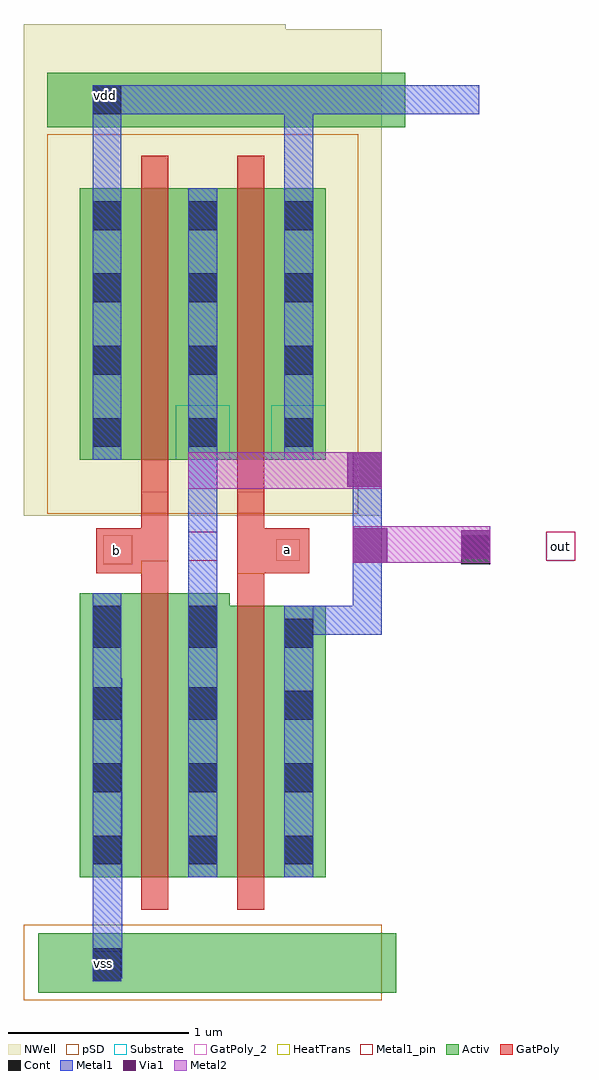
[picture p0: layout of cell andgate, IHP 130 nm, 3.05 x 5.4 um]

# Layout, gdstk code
from math import pi, radians
import gdstk
lib = gdstk.Library(unit=1e-6, precision=5e-09)
def R(c, l, rs):  # rectangles x0, y0, x1, y1
    for r in rs: c.add(gdstk.rectangle(r[:2], r[2:], *l))
def A(c, l, x, y, w, h, nx, ny, dx, dy):  # array of equal rectangles
    R(c, l, [(x+i*dx, y+j*dy, x+i*dx+w, y+j*dy+h) for i in range(nx) for j in range(ny)])
Activ = (1, 0)
GatPoly = (5, 0)
GatPoly_2 = (5, 2)
Cont = (6, 0)
Metal1 = (8, 0)
Metal1_pin = (8, 2)
Metal2 = (10, 0)
pSD = (14, 0)
Via1 = (19, 0)
NWell = (31, 0)
Substrate = (40, 0)
HeatTrans = (51, 0)

nmos_1 = lib.new_cell('nmos$1')
R(nmos_1, Activ, [(0,0,0.3,0.3), (0,0,0.83,1.5), (0.53,0,0.83,0.3)])
R(nmos_1, GatPoly, [(0.34,-0.18,0.49,1.68)])
R(nmos_1, GatPoly_2, [(0.34,-0.18,0.49,1.68)])
A(nmos_1, Cont, 0.07, 0.07, 0.16, 0.16, 1, 4, 0, 0.4)
A(nmos_1, Cont, 0.6, 0.07, 0.16, 0.16, 1, 4, 0, 0.4)
R(nmos_1, Metal1, [(0.07,0,0.23,1.5), (0.6,0,0.76,1.5)])
R(nmos_1, Metal1_pin, [(0.07,0,0.23,1.5), (0.6,0,0.76,1.5)])
R(nmos_1, HeatTrans, [(0.34,-0.18,0.49,1.68)])
nmos_1.add(gdstk.Label('nmos', (0.415,0.75), layer=63, texttype=0))
nmos_1.add(gdstk.Label('nmos', (0.415,0.75), layer=51, texttype=0))

pmos = lib.new_cell('pmos')
R(pmos, Activ, [(0,0,0.3,0.3), (0,0,0.83,1.5), (0.53,0,0.83,0.3)])
R(pmos, GatPoly, [(0.34,-0.18,0.49,1.68), (0.34,-0.18,0.49,1.68)])
A(pmos, Cont, 0.07, 0.07, 0.16, 0.16, 1, 4, 0, 0.4)
A(pmos, Cont, 0.6, 0.07, 0.16, 0.16, 1, 4, 0, 0.4)
R(pmos, Metal1, [(0.07,0,0.23,1.5), (0.07,0,0.23,1.5), (0.6,0,0.76,1.5), (0.6,0,0.76,1.5)])
R(pmos, pSD, [(-0.18,-0.3,1.01,1.8)])
R(pmos, NWell, [(-0.31,-0.31,1.14,1.81)])
R(pmos, Substrate, [(0.53,0,0.83,0.3)])
R(pmos, HeatTrans, [(0.34,-0.18,0.49,1.68)])
pmos.add(gdstk.Label('pmos', (0.415,0.75), layer=63, texttype=0))
pmos.add(gdstk.Label('pmos', (0.415,0.75), layer=51, texttype=0))

nmos_2 = lib.new_cell('nmos$2')
R(nmos_2, Activ, [(0,0,0.3,0.3), (0,0,0.83,0.75), (0.53,0,0.83,0.3)])
R(nmos_2, GatPoly, [(0.34,-0.18,0.49,0.93)])
R(nmos_2, GatPoly_2, [(0.34,-0.18,0.49,0.93)])
R(nmos_2, Cont, [(0.07,0.07,0.23,0.23), (0.6,0.07,0.76,0.23), (0.07,0.52,0.23,0.68), (0.6,0.52,0.76,0.68)])
R(nmos_2, Metal1, [(0.07,0,0.23,0.75), (0.6,0,0.76,0.75)])
R(nmos_2, Metal1_pin, [(0.07,0,0.23,0.75), (0.6,0,0.76,0.75)])
R(nmos_2, HeatTrans, [(0.34,-0.18,0.49,0.93)])
nmos_2.add(gdstk.Label('nmos', (0.415,0.375), layer=63, texttype=0))
nmos_2.add(gdstk.Label('nmos', (0.415,0.375), layer=51, texttype=0))

pmos_2 = lib.new_cell('pmos$2')
R(pmos_2, Activ, [(0,0,0.3,0.3), (0,0,0.83,1.5), (0.53,0,0.83,0.3)])
R(pmos_2, GatPoly, [(0.34,-0.18,0.49,1.68), (0.34,-0.18,0.49,1.68)])
A(pmos_2, Cont, 0.07, 0.07, 0.16, 0.16, 1, 4, 0, 0.4)
A(pmos_2, Cont, 0.6, 0.07, 0.16, 0.16, 1, 4, 0, 0.4)
R(pmos_2, Metal1, [(0.07,0,0.23,1.5), (0.07,0,0.23,1.5), (0.6,0,0.76,1.5), (0.6,0,0.76,1.5)])
R(pmos_2, pSD, [(-0.18,-0.3,1.01,1.8)])
R(pmos_2, NWell, [(-0.31,-0.31,1.14,1.81)])
R(pmos_2, Substrate, [(0.53,0,0.83,0.3)])
R(pmos_2, HeatTrans, [(0.34,-0.18,0.49,1.68)])
pmos_2.add(gdstk.Label('pmos', (0.415,0.75), layer=63, texttype=0))
pmos_2.add(gdstk.Label('pmos', (0.415,0.75), layer=51, texttype=0))

inverter_1 = lib.new_cell('inverter$1')
R(inverter_1, Activ, [(-0.845,-2.585,0.395,-2.255), (-0.795,2.205,0.285,2.505)])
R(inverter_1, GatPoly, [(-0.525,-0.265,-0.275,-0.015), (-0.275,-0.195,-0.125,0.185)])
R(inverter_1, GatPoly_2, [(-0.485,-0.215,-0.325,-0.055)])
R(inverter_1, Cont, [(-0.545,-2.5,-0.385,-2.34), (-0.545,-2.5,-0.385,-2.34), (-0.545,2.275,-0.385,2.435)])
R(inverter_1, Metal1, [(-0.545,-2.505,-0.38,-0.845), (-0.015,-0.375,0.145,0.365), (-0.545,1.865,-0.385,2.435)])
R(inverter_1, Metal1_pin, [(-0.015,-0.195,0.145,-0.035)])
R(inverter_1, pSD, [(-0.925,-2.625,0.525,-2.21)])
R(inverter_1, NWell, [(-0.925,2.175,0.525,2.775)])
inverter_1.add(gdstk.Reference(nmos_2, (-0.615,-1.125)))
inverter_1.add(gdstk.Reference(pmos_2, (-0.615,0.365)))
inverter_1.add(gdstk.Label('vss', (-0.475,-2.43), layer=8, texttype=2))
inverter_1.add(gdstk.Label('vdd', (-0.465,2.355), layer=8, texttype=2))
inverter_1.add(gdstk.Label('out', (0.06,-0.09), layer=8, texttype=2))
inverter_1.add(gdstk.Label('in', (-0.45,-0.11), layer=5, texttype=2))

andgate = lib.new_cell('andgate')
R(andgate, Activ, [(-0.62,-2.585,1.135,-2.255), (-0.685,2.205,1.185,2.505)])
R(andgate, GatPoly, [(-0.525,-0.265,-0.125,-0.015), (-0.275,-0.265,-0.125,0.185), (0.255,-0.265,0.405,0.185), (0.255,-0.265,0.655,-0.015)])
R(andgate, GatPoly_2, [(0.47,-0.195,0.6,-0.075), (-0.48,-0.19,-0.325,-0.08)])
R(andgate, Cont, [(-0.545,-2.52,-0.385,-2.36), (1.495,-0.215,1.655,-0.055), (-0.545,2.275,-0.385,2.435)])
R(andgate, Metal1, [(-0.545,-2.52,-0.385,-0.445), (0.515,-0.605,1.055,-0.445), (0.895,-0.605,1.055,0.405), (1.495,-0.185,1.655,-0.025), (-0.015,0.055,0.145,0.365), (-0.545,0.365,-0.385,2.435), (-0.545,1.865,-0.385,2.435), (0.515,1.865,0.675,2.435), (-0.545,2.275,0.675,2.435), (0.675,2.275,1.595,2.435)])
R(andgate, Metal1_pin, [(-0.545,-2.52,-0.385,-2.355), (1.965,-0.195,2.125,-0.035), (-0.545,2.275,-0.385,2.435)])
R(andgate, Metal2, [(0.895,-0.205,1.655,-0.005), (-0.015,0.205,1.055,0.405)])
R(andgate, pSD, [(-0.925,-2.625,1.055,-2.21)])
R(andgate, Via1, [(0.895,-0.205,1.085,-0.015), (1.495,-0.185,1.655,-0.025), (0.865,0.215,1.055,0.405)])
R(andgate, NWell, [(-0.925,2.175,1.055,2.745)])
andgate.add(gdstk.Reference(nmos_1, (0.745,-0.445), rotation=pi))
andgate.add(gdstk.Reference(pmos, (-0.085,0.365)))
andgate.add(gdstk.Reference(pmos, (-0.615,0.365)))
andgate.add(gdstk.Reference(inverter_1, (0,0)))
andgate.add(gdstk.Reference(nmos_1, (-0.615,-1.945)))
andgate.add(gdstk.Label('out', (2.045,-0.115), layer=8, texttype=2))
andgate.add(gdstk.Label('vdd', (-0.475,2.38), layer=8, texttype=2))
andgate.add(gdstk.Label('vss', (-0.485,-2.425), layer=8, texttype=2))
andgate.add(gdstk.Label('a', (0.535,-0.135), layer=5, texttype=2))
andgate.add(gdstk.Label('b', (-0.41,-0.14), layer=5, texttype=2))

lib.write_gds('andgate.gds')
